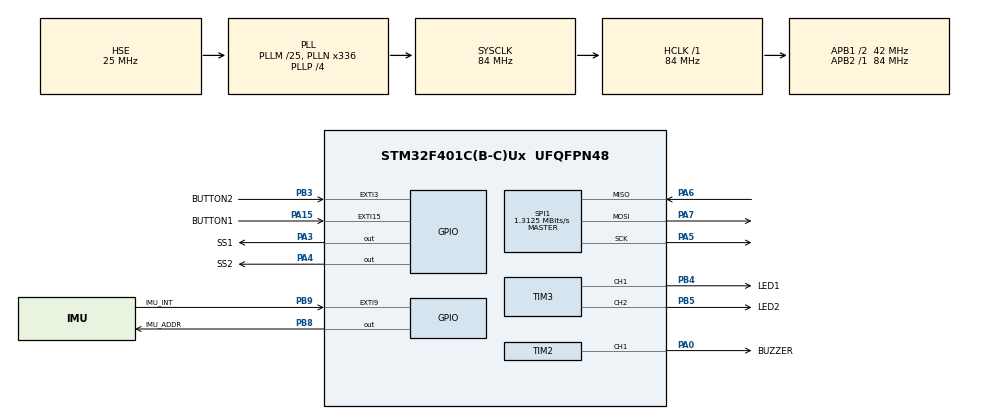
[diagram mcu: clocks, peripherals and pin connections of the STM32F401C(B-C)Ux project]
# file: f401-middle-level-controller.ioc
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Dma.Request0=SPI1_RX
Dma.Request1=SPI1_TX
Dma.SPI1_RX.0.Direction=DMA_PERIPH_TO_MEMORY
Dma.SPI1_RX.0.FIFOMode=DMA_FIFOMODE_DISABLE
Dma.SPI1_RX.0.Instance=DMA2_Stream0
Dma.SPI1_RX.0.MemDataAlignment=DMA_MDATAALIGN_BYTE
Dma.SPI1_RX.0.MemInc=DMA_MINC_ENABLE
Dma.SPI1_RX.0.Mode=DMA_NORMAL
Dma.SPI1_RX.0.PeriphDataAlignment=DMA_PDATAALIGN_BYTE
Dma.SPI1_RX.0.PeriphInc=DMA_PINC_DISABLE
Dma.SPI1_RX.0.Priority=DMA_PRIORITY_LOW
Dma.SPI1_TX.1.Direction=DMA_MEMORY_TO_PERIPH
Dma.SPI1_TX.1.FIFOMode=DMA_FIFOMODE_DISABLE
Dma.SPI1_TX.1.Instance=DMA2_Stream3
Dma.SPI1_TX.1.MemDataAlignment=DMA_MDATAALIGN_BYTE
Dma.SPI1_TX.1.MemInc=DMA_MINC_ENABLE
Dma.SPI1_TX.1.Mode=DMA_NORMAL
Dma.SPI1_TX.1.PeriphDataAlignment=DMA_PDATAALIGN_BYTE
Dma.SPI1_TX.1.PeriphInc=DMA_PINC_DISABLE
Dma.SPI1_TX.1.Priority=DMA_PRIORITY_LOW
Mcu.Family=STM32F4
Mcu.Name=STM32F401C(B-C)Ux
Mcu.Package=UFQFPN48
NVIC.DMA2_Stream0_IRQn=true\:0\:0\:false\:false\:true\:false\:true\:true
NVIC.DMA2_Stream3_IRQn=true\:0\:0\:false\:false\:true\:false\:true\:true
NVIC.EXTI15_10_IRQn=true\:1\:0\:true\:false\:true\:true\:true\:true
NVIC.EXTI3_IRQn=true\:1\:0\:true\:false\:true\:true\:true\:true
NVIC.PriorityGroup=NVIC_PRIORITYGROUP_4
NVIC.TIM1_UP_TIM10_IRQn=true\:0\:0\:false\:false\:true\:true\:true\:true
NVIC.TIM4_IRQn=true\:0\:0\:false\:false\:true\:true\:true\:true
PA0-WKUP.GPIO_Label=BUZZER
PA0-WKUP.Signal=S_TIM2_CH1_ETR
PA13.Mode=Serial_Wire
PA13.Signal=SYS_JTMS-SWDIO
PA14.Mode=Serial_Wire
PA14.Signal=SYS_JTCK-SWCLK
PA15.GPIO_Label=BUTTON1
PA15.GPIO_ModeDefaultEXTI=GPIO_MODE_IT_RISING_FALLING
PA15.Signal=GPXTI15
PA3.GPIO_Label=SS1
PA3.GPIO_Speed=GPIO_SPEED_FREQ_VERY_HIGH
PA3.PinState=GPIO_PIN_SET
PA3.Signal=GPIO_Output
PA4.GPIO_Label=SS2
PA4.GPIO_Speed=GPIO_SPEED_FREQ_VERY_HIGH
PA4.PinState=GPIO_PIN_SET
PA4.Signal=GPIO_Output
PA5.Mode=Full_Duplex_Master
PA5.Signal=SPI1_SCK
PA6.Mode=Full_Duplex_Master
PA6.Signal=SPI1_MISO
PA7.Mode=Full_Duplex_Master
PA7.Signal=SPI1_MOSI
PB3.GPIO_Label=BUTTON2
PB3.GPIO_ModeDefaultEXTI=GPIO_MODE_IT_RISING_FALLING
PB3.Signal=GPXTI3
PB4.GPIO_Label=LED1
PB4.Signal=S_TIM3_CH1
PB5.GPIO_Label=LED2
PB5.Signal=S_TIM3_CH2
PB8.GPIO_Label=IMU_ADDR
PB8.GPIO_PuPd=GPIO_PULLDOWN
PB8.Signal=GPIO_Output
PB9.GPIO_Label=IMU_INT
PB9.Signal=GPXTI9
PH0\ -\ OSC_IN.Mode=HSE-External-Oscillator
PH0\ -\ OSC_IN.Signal=RCC_OSC_IN
PH1\ -\ OSC_OUT.Mode=HSE-External-Oscillator
PH1\ -\ OSC_OUT.Signal=RCC_OSC_OUT
ProjectManager.HeapSize=0x200
ProjectManager.StackSize=0x400
ProjectManager.TargetToolchain=STM32CubeIDE
RCC.48MHZClocksFreq_Value=48000000
RCC.AHBFreq_Value=84000000
RCC.APB1CLKDivider=RCC_HCLK_DIV2
RCC.APB1Freq_Value=42000000
RCC.APB1TimFreq_Value=84000000
RCC.APB2Freq_Value=84000000
RCC.APB2TimFreq_Value=84000000
RCC.CortexFreq_Value=84000000
RCC.HCLKFreq_Value=84000000
RCC.HSE_VALUE=25000000
RCC.HSI_VALUE=16000000
RCC.LSE_VALUE=32768
RCC.PLLM=25
RCC.PLLN=336
RCC.PLLP=RCC_PLLP_DIV4
RCC.PLLQ=7
RCC.PLLSourceVirtual=RCC_PLLSOURCE_HSE
RCC.SYSCLKFreq_VALUE=84000000
RCC.SYSCLKSource=RCC_SYSCLKSOURCE_PLLCLK
RCC.VCOOutputFreq_Value=336000000
SH.S_TIM2_CH1_ETR.0=TIM2_CH1,PWM Generation1 CH1
SH.S_TIM3_CH1.0=TIM3_CH1,PWM Generation1 CH1
SH.S_TIM3_CH2.0=TIM3_CH2,PWM Generation2 CH2
SPI1.BaudRatePrescaler=SPI_BAUDRATEPRESCALER_64
SPI1.CRCCalculation=SPI_CRCCALCULATION_DISABLE
SPI1.CalculateBaudRate=1.3125 MBits/s
SPI1.Direction=SPI_DIRECTION_2LINES
SPI1.Mode=SPI_MODE_MASTER
SPI1.VirtualType=VM_MASTER
TIM1.Period=1000-1
TIM1.Prescaler=840-1
TIM2.Channel-PWM\ Generation1\ CH1=TIM_CHANNEL_1
TIM3.Channel-PWM\ Generation1\ CH1=TIM_CHANNEL_1
TIM3.Channel-PWM\ Generation2\ CH2=TIM_CHANNEL_2
TIM4.Period=100-1
TIM4.Prescaler=840-1
VP_CRC_VS_CRC.Mode=CRC_Activate
VP_TIM1_VS_ClockSourceINT.Mode=Internal
VP_TIM2_VS_ClockSourceINT.Mode=Internal
VP_TIM4_VS_ClockSourceINT.Mode=Internal
board=custom

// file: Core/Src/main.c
/* USER CODE BEGIN Header */
/**
 ******************************************************************************
 * @file           : main.c
 * @brief          : Main program body
 ******************************************************************************
 * @attention
 *
 * Copyright (c) 2023 STMicroelectronics.
 * All rights reserved.
 *
 * This software is licensed under terms that can be found in the LICENSE file
 * in the root directory of this software component.
 * If no LICENSE file comes with this software, it is provided AS-IS.
 *
 ******************************************************************************
 */
/* USER CODE END Header */
#include "main.h"
#include "crc.h"
#include "dma.h"
#include "spi.h"
#include "tim.h"
#include "gpio.h"

/* USER CODE BEGIN Includes */
#include "spi_comms.h"
#include "spi_master_controls.h"
/* USER CODE END Includes */

/* USER CODE BEGIN PV */
extern mosi_packet_t transmit_packet_1;
extern miso_packet_t receive_packet_1;
miso_packet_t valid_receive_packet_1;

/* USER CODE END PV */

void SystemClock_Config(void);
/* USER CODE BEGIN PFP */
void HAL_SPI_TxRxCpltCallback(SPI_HandleTypeDef *hspi);

/* USER CODE END PFP */

int main(void) {

	/* MCU Configuration--------------------------------------------------------*/

	/* Reset of all peripherals, Initializes the Flash interface and the Systick. */
	HAL_Init();

	/* Configure the system clock */
	SystemClock_Config();

	/* Initialize all configured peripherals */
	MX_GPIO_Init();
	MX_DMA_Init();
	MX_TIM1_Init();
	MX_TIM2_Init();
	MX_TIM3_Init();
	MX_TIM4_Init();
	MX_SPI1_Init();
	MX_CRC_Init();
	/* USER CODE BEGIN 2 */
	HAL_TIM_Base_Start_IT(&htim4);

	servo_enable_system(&transmit_packet_1);
	servo_enable(&transmit_packet_1, 1);
	servo_enable(&transmit_packet_1, 2);
	servo_set_timeout(&transmit_packet_1, 135);

	/* USER CODE END 2 */

	/* Infinite loop */
	while (1) {

	}
}

void SystemClock_Config(void) {
	RCC_OscInitTypeDef RCC_OscInitStruct = { 0 };
	RCC_ClkInitTypeDef RCC_ClkInitStruct = { 0 };

	/** Configure the main internal regulator output voltage
	 */
	__HAL_RCC_PWR_CLK_ENABLE();
	__HAL_PWR_VOLTAGESCALING_CONFIG(PWR_REGULATOR_VOLTAGE_SCALE2);

	/** Initializes the RCC Oscillators according to the specified parameters
	 * in the RCC_OscInitTypeDef structure.
	 */
	RCC_OscInitStruct.OscillatorType = RCC_OSCILLATORTYPE_HSE;
	RCC_OscInitStruct.HSEState = RCC_HSE_ON;
	RCC_OscInitStruct.PLL.PLLState = RCC_PLL_ON;
	RCC_OscInitStruct.PLL.PLLSource = RCC_PLLSOURCE_HSE;
	RCC_OscInitStruct.PLL.PLLM = 25;
	RCC_OscInitStruct.PLL.PLLN = 336;
	RCC_OscInitStruct.PLL.PLLP = RCC_PLLP_DIV4;
	RCC_OscInitStruct.PLL.PLLQ = 7;
	if (HAL_RCC_OscConfig(&RCC_OscInitStruct) != HAL_OK) {
		Error_Handler();
	}

	/** Initializes the CPU, AHB and APB buses clocks
	 */
	RCC_ClkInitStruct.ClockType = RCC_CLOCKTYPE_HCLK | RCC_CLOCKTYPE_SYSCLK
			| RCC_CLOCKTYPE_PCLK1 | RCC_CLOCKTYPE_PCLK2;
	RCC_ClkInitStruct.SYSCLKSource = RCC_SYSCLKSOURCE_PLLCLK;
	RCC_ClkInitStruct.AHBCLKDivider = RCC_SYSCLK_DIV1;
	RCC_ClkInitStruct.APB1CLKDivider = RCC_HCLK_DIV2;
	RCC_ClkInitStruct.APB2CLKDivider = RCC_HCLK_DIV1;

	if (HAL_RCC_ClockConfig(&RCC_ClkInitStruct, FLASH_LATENCY_2) != HAL_OK) {
		Error_Handler();
	}
}

/* USER CODE BEGIN 4 */
void HAL_SPI_TxRxCpltCallback(SPI_HandleTypeDef *hspi) {
	HAL_GPIO_WritePin(SS1_GPIO_Port, SS1_Pin, GPIO_PIN_SET);
	if (master_verify_miso_packet(&receive_packet_1)) {
		memcpy(&valid_receive_packet_1, &receive_packet_1, 32);
	}
}

/* USER CODE END 4 */

void Error_Handler(void) {
	__disable_irq();
	while (1) {
	}
}
